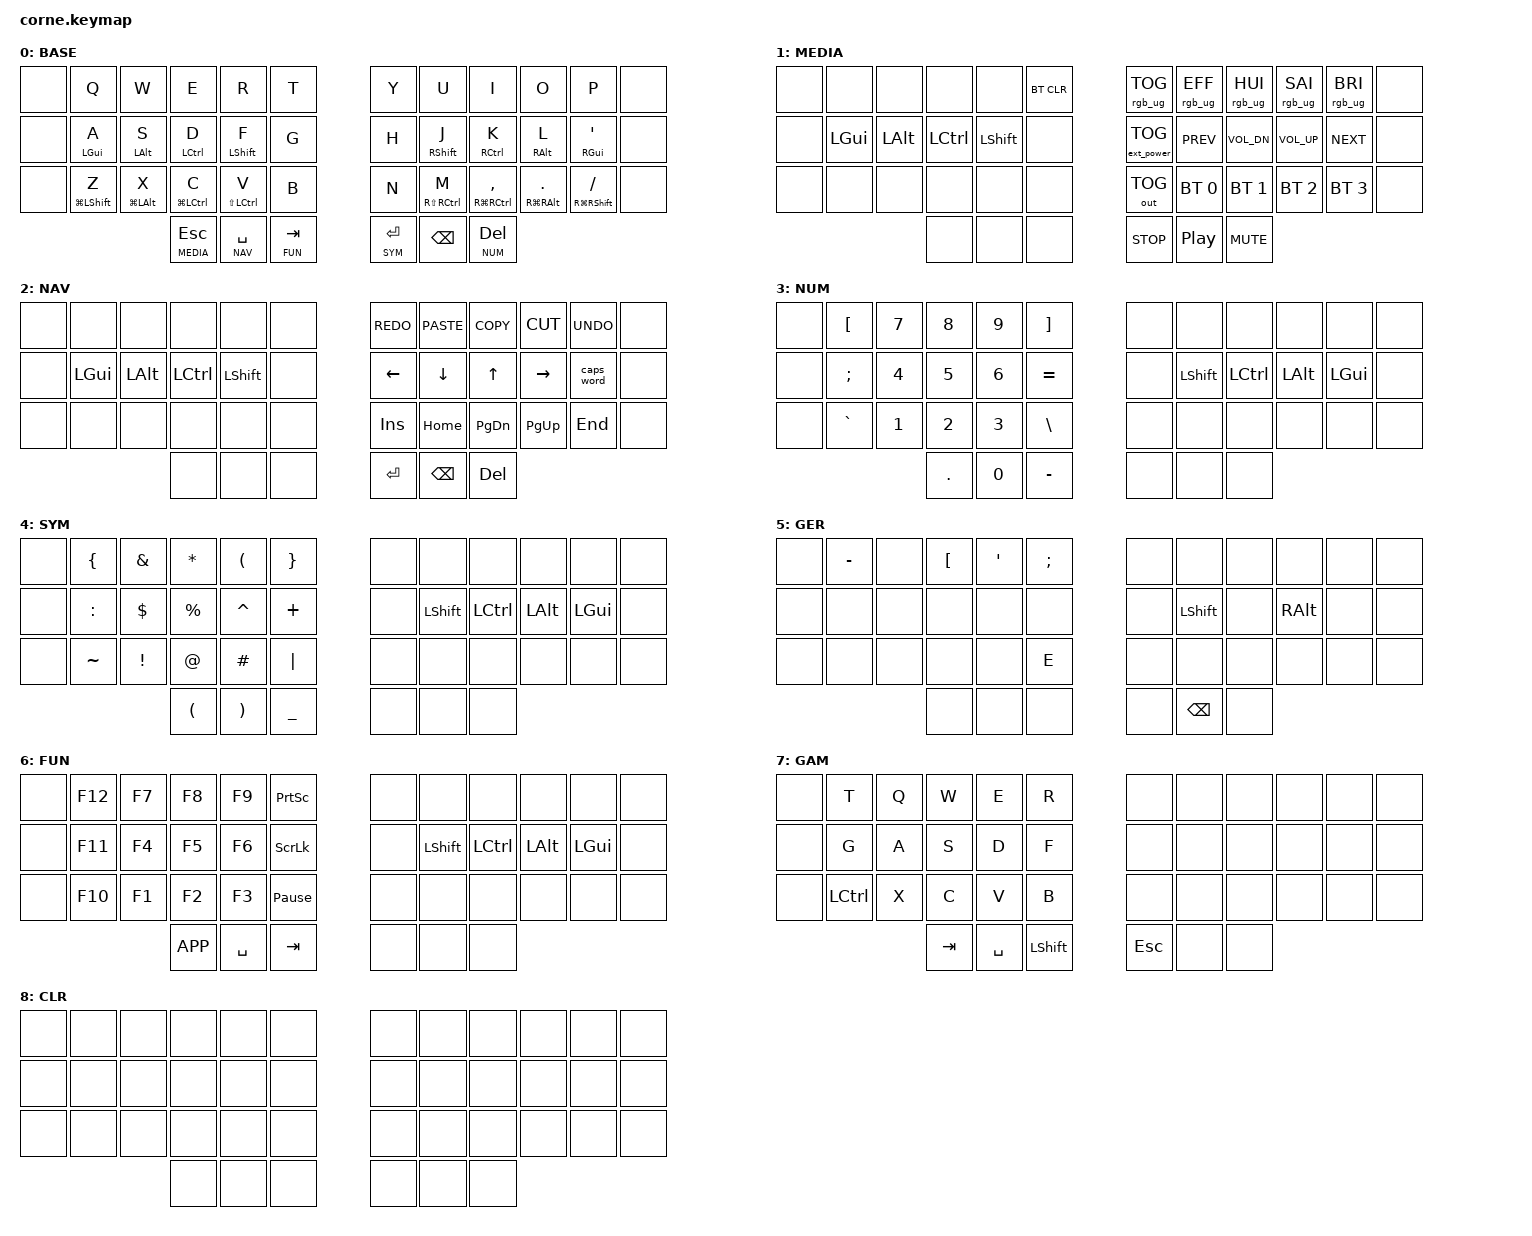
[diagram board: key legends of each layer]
/*
 * Copyright (c) 2020 The ZMK Contributors
 *
 * SPDX-License-Identifier: MIT
 */

#include <behaviors.dtsi>
#include <dt-bindings/zmk/keys.h>
#include <dt-bindings/zmk/rgb.h>
#include <dt-bindings/zmk/ext_power.h>
#include <dt-bindings/zmk/outputs.h>
#include <dt-bindings/zmk/bt.h>

#define BASE 0
#define MEDIA 1
#define NAV 2
#define NUM 3
#define SYM 4
#define GER 5
#define FUN 6
#define GAM 7
#define CLR 8



// Toggle German Layer
/ {
    macros {
        zed_lang: zed_lang {
            label = "ZM_zed_lang";
            compatible = "zmk,behavior-macro";
            #binding-cells = <0>;
            bindings
                = <&macro_tap &tog GER>
                , <&macro_press &kp LGUI>
                , <&macro_tap &kp SPACE>
                , <&macro_release &kp LGUI>
                ;
        };
    };
};

/ {
    combos {
        compatible = "zmk,combos";
        combo_ger {
            timeout-ms = <50>;
            key-positions = <37 40>;
            bindings = <&zed_lang>;
        };
    };
};

/ {
    combos {
        compatible = "zmk,combos";
        combo_gam {
            timeout-ms = <50>;
            key-positions = <36 41>;
            bindings = <&tog GAM>;
        };
    };
};


/ {
     // Homerow Mod
     behaviors {
          bhm: balanced_homerow_mods {
               compatible = "zmk,behavior-hold-tap";
               label = "HOMEROW_MODS";
               #binding-cells = <2>;
               tapping-term-ms = <200>;    // <---[[moderate duration]]
               quick-tap-ms = <0>;
               flavor = "balanced";
               bindings = <&kp>, <&kp>;
          };
     };

          keymap {
               compatible = "zmk,keymap";

               base_layer {
               label = "BASE";
                        bindings = <
// ╭───────┬───────────────────┬───────────────────┬───────────────────┬───────────────────┬────────────────╮   ╭────────────────┬───────────────────┬────────────────────────┬────────────────────────┬────────────────────────┬───────╮
     &none   &kp Q               &kp W               &kp E               &kp R               &kp T                &kp Y            &kp U               &kp I                    &kp O                    &kp P                    &none
// ├───────┼───────────────────┼───────────────────┼───────────────────┼───────────────────┼────────────────┤   ├────────────────┼───────────────────┼────────────────────────┼────────────────────────┼────────────────────────┼───────┤
     &none   &bhm LGUI A         &bhm LALT S         &bhm LCTRL D        &bhm LSHIFT F       &kp G                &kp H            &bhm RSHIFT J       &bhm RCTRL K             &bhm RALT L              &bhm RGUI SQT            &none
// ├───────┼───────────────────┼───────────────────┼───────────────────┼───────────────────┼────────────────┤   ├────────────────┼───────────────────┼────────────────────────┼────────────────────────┼────────────────────────┼───────┤
     &none   &bhm LG(LSHFT) Z    &bhm LG(LALT) X     &bhm LG(LCTRL) C    &bhm LS(LCTRL) V    &kp B                &kp N            &bhm RS(RCTRL) M    &bhm RG(RCTRL) COMMA     &bhm RG(RALT) DOT        &bhm RG(RSHFT) FSLH      &none
// ├───────┼───────────────────┼───────────────────┼───────────────────┼───────────────────┼────────────────┤   ├────────────────┼───────────────────┼────────────────────────┼────────────────────────┼────────────────────────┼───────┤
                                                      &lt MEDIA ESC       &lt NAV SPACE       &lt FUN TAB         &lt SYM RET      &kp BSPC            &lt NUM DELETE
//                                                  ╰───────────────────┴───────────────────┴───────────────╯   ╰────────────────┴───────────────────┴─────────────────────────╯
                        >;
                };

                media_layer {
                        label = "MEDIA";
                        bindings = <
// ╭───────┬────────────────┬────────────────┬────────────────┬────────────────┬────────────────╮   ╭────────────────────┬────────────────────┬────────────────────┬────────────────────┬────────────────────┬───────╮
     &none   &none            &none            &none            &none            &bt BT_CLR           &rgb_ug RGB_TOG      &rgb_ug RGB_EFF      &rgb_ug RGB_HUI      &rgb_ug RGB_SAI      &rgb_ug RGB_BRI      &none
// ├───────┼────────────────┼────────────────┼────────────────┼────────────────┼────────────────┤   ├────────────────────┼────────────────────┼────────────────────┼────────────────────┼────────────────────┼───────┤
     &none   &kp LGUI         &kp LALT         &kp LCTRL        &kp LSHIFT       &none                &ext_power EP_TOG    &kp C_PREV           &kp C_VOL_DN         &kp C_VOL_UP         &kp C_NEXT           &none 
// ├───────┼────────────────┼────────────────┼────────────────┼────────────────┼────────────────┤   ├────────────────────┼────────────────────┼────────────────────┼────────────────────┼────────────────────┼───────┤
     &none   &none            &none            &none            &none            &none                &out OUT_TOG         &bt BT_SEL 0         &bt BT_SEL 1         &bt BT_SEL 2         &bt BT_SEL 3         &none
// ├───────┼────────────────┼────────────────┼────────────────┼────────────────┼────────────────┤   ├────────────────────┼────────────────────┼────────────────────┼────────────────────┼────────────────────┼───────┤
                                               &none            &none            &none                &kp C_STOP           &kp C_PP             &kp C_MUTE
//                                           ╰────────────────┴────────────────┴───────────────╯   ╰─────────────────────┴────────────────────┴────────────────────╯
                        >;
                };

                nav_layer {
                        label = "NAV";
                        bindings = <
// ╭───────┬────────────────┬────────────────┬────────────────┬────────────────┬────────────────╮   ╭────────────────┬────────────────┬────────────────┬────────────────┬────────────────┬───────╮
     &none   &none            &none            &none            &none            &none                &kp K_REDO       &kp K_PASTE      &kp K_COPY       &kp K_CUT        &kp K_UNDO       &none
// ├───────┼────────────────┼────────────────┼────────────────┼────────────────┼────────────────┤   ├────────────────┼────────────────┼────────────────┼────────────────┼────────────────┼───────┤
     &none   &kp LGUI         &kp LALT         &kp LCTRL        &kp LSHIFT       &none                &kp LEFT         &kp DOWN         &kp UP           &kp RIGHT        &caps_word	   &none
// ├───────┼────────────────┼────────────────┼────────────────┼────────────────┼────────────────┤   ├────────────────┼────────────────┼────────────────┼────────────────┼────────────────┼───────┤
     &none   &none            &none            &none            &none            &none                &kp INS          &kp HOME         &kp PG_DN        &kp PG_UP        &kp END          &none
// ├───────┼────────────────┼────────────────┼────────────────┼────────────────┼────────────────┤   ├────────────────┼────────────────┼────────────────┼────────────────┼────────────────┼───────┤
                                               &none            &none            &none                &kp RET          &kp BSPC         &kp DEL
//                                            ╰────────────────┴────────────────┴───────────────╯   ╰────────────────┴────────────────┴────────────────╯
                        >;
                };

                num_layer {
                        label = "NUM";
                        bindings = <
// ╭───────┬────────────────┬────────────────┬────────────────┬────────────────┬────────────────╮   ╭────────────────┬────────────────┬────────────────┬────────────────┬────────────────┬───────╮
     &none   &kp LBKT         &kp N7           &kp N8           &kp N9           &kp RBKT             &none            &none            &none            &none            &none            &none
// ├───────┼────────────────┼────────────────┼────────────────┼────────────────┼────────────────┤   ├────────────────┼────────────────┼────────────────┼────────────────┼────────────────┼───────┤
     &none   &kp SEMI         &kp N4           &kp N5           &kp N6           &kp EQUAL            &none            &kp LSHIFT       &kp LCTRL        &kp LALT         &kp LGUI         &none
// ├───────┼────────────────┼────────────────┼────────────────┼────────────────┼────────────────┤   ├────────────────┼────────────────┼────────────────┼────────────────┼────────────────┼───────┤
     &none   &kp GRAVE        &kp N1           &kp N2           &kp N3           &kp BSLH             &none            &none            &none            &none            &none            &none
// ├───────┼────────────────┼────────────────┼────────────────┼────────────────┼────────────────┤   ├────────────────┼────────────────┼────────────────┼────────────────┼────────────────┼───────┤
                                               &kp DOT          &kp N0           &kp MINUS            &none            &none            &none
//                                           ╰────────────────┴────────────────┴────────────────╯   ╰────────────────┴────────────────┴────────────────╯
                        >;
                };

                sym_layer {
                        label = "SYM";
                        bindings = <
// ╭───────┬────────────────┬────────────────┬────────────────┬────────────────┬────────────────╮   ╭────────────────┬────────────────┬────────────────┬────────────────┬────────────────┬───────╮
     &none   &kp LBRC         &kp AMPS         &kp ASTRK        &kp LPAR         &kp RBRC             &none            &none            &none            &none            &none            &none
// ├───────┼────────────────┼────────────────┼────────────────┼────────────────┼────────────────┤   ├────────────────┼────────────────┼────────────────┼────────────────┼────────────────┼───────┤
     &none   &kp COLON        &kp DLLR         &kp PRCNT        &kp CARET        &kp PLUS             &none            &kp LSHIFT       &kp LCTRL        &kp LALT         &kp LGUI         &none
// ├───────┼────────────────┼────────────────┼────────────────┼────────────────┼────────────────┤   ├────────────────┼────────────────┼────────────────┼────────────────┼────────────────┼───────┤
     &none   &kp TILDE        &kp EXCL         &kp AT           &kp HASH         &kp PIPE             &none            &none            &none            &none            &none            &none
// ├───────┼────────────────┼────────────────┼────────────────┼────────────────┼────────────────┤   ├────────────────┼────────────────┼────────────────┼────────────────┼────────────────┼───────┤
                                               &kp LPAR         &kp RPAR         &kp UNDER            &none            &none            &none
//                                           ╰────────────────┴────────────────┴────────────────╯   ╰────────────────┴────────────────┴────────────────╯
                        >;
                };

                german_layer {
                        label = "GER";
                        bindings = <
// ╭───────┬────────────────┬────────────────┬────────────────┬────────────────┬────────────────╮   ╭────────────────┬────────────────┬────────────────┬────────────────┬────────────────┬───────╮
     &none   &kp MINUS        &none            &kp LBKT         &kp SQT          &kp SEMI             &none            &none            &none            &none            &none            &none
// ├───────┼────────────────┼────────────────┼────────────────┼────────────────┼────────────────┤   ├────────────────┼────────────────┼────────────────┼────────────────┼────────────────┼───────┤
     &none   &none            &none            &none            &none            &none                &none            &kp LSHIFT       &none            &kp RALT         &none            &none
// ├───────┼────────────────┼────────────────┼────────────────┼────────────────┼────────────────┤   ├────────────────┼────────────────┼────────────────┼────────────────┼────────────────┼───────┤
     &none   &none            &none            &none            &none            &kp E                &none            &none            &none            &none            &none            &none
// ├───────┼────────────────┼────────────────┼────────────────┼────────────────┼────────────────┤   ├────────────────┼────────────────┼────────────────┼────────────────┼────────────────┼───────┤
                                               &none            &none            &none                &none            &kp BSPC         &none
//                                           ╰────────────────┴────────────────┴────────────────╯   ╰────────────────┴────────────────┴────────────────╯
                        >;
                };

                fun_layer {
                        label = "FUN";
                        bindings = <
// ╭───────┬────────────────┬────────────────┬────────────────┬────────────────┬────────────────╮   ╭────────────────┬────────────────┬────────────────┬────────────────┬────────────────┬───────╮
     &none   &kp F12          &kp F7           &kp F8           &kp F9           &kp PSCRN             &none            &none            &none            &none            &none           &none
// ├───────┼────────────────┼────────────────┼────────────────┼────────────────┼────────────────┤   ├────────────────┼────────────────┼────────────────┼────────────────┼────────────────┼───────┤
     &none   &kp F11          &kp F4           &kp F5           &kp F6           &kp SLCK              &none            &kp LSHIFT       &kp LCTRL        &kp LALT         &kp LGUI        &none
// ├───────┼────────────────┼────────────────┼────────────────┼────────────────┼────────────────┤   ├────────────────┼────────────────┼────────────────┼────────────────┼────────────────┼───────┤
     &none   &kp F10          &kp F1           &kp F2           &kp F3           &kp PAUSE_BREAK       &none            &none            &none            &none            &none           &none
// ├───────┼────────────────┼────────────────┼────────────────┼────────────────┼────────────────┤   ├────────────────┼────────────────┼────────────────┼────────────────┼────────────────┼───────┤
                                               &kp K_APP        &kp SPACE        &kp TAB               &none            &none            &none
//                                           ╰────────────────┴────────────────┴────────────────╯   ╰────────────────┴────────────────┴────────────────╯
                        >;
                };

                game_layer {
                        label = "GAM";
                        bindings = <
// ╭────────────────┬────────────────┬────────────────┬────────────────┬────────────────┬────────────────╮   ╭────────────────┬────────────────┬────────────────┬────────────────┬────────────────┬────────────────╮
     &none            &kp T            &kp Q            &kp W           &kp E            &kp R                &none            &none            &none            &none            &none            &none
// ├────────────────┼────────────────┼────────────────┼────────────────┼────────────────┼────────────────┤   ├────────────────┼────────────────┼────────────────┼────────────────┼────────────────┼────────────────┤
     &none            &kp G            &kp A            &kp S           &kp D            &kp F                &none            &none            &none            &none            &none            &none
// ├────────────────┼────────────────┼────────────────┼────────────────┼────────────────┼────────────────┤   ├────────────────┼────────────────┼────────────────┼────────────────┼────────────────┼────────────────┤
     &none            &kp LCTRL        &kp X            &kp C           &kp V            &kp B                &none            &none            &none            &none            &none            &none
// ├────────────────┼────────────────┼────────────────┼────────────────┼────────────────┼────────────────┤   ├────────────────┼────────────────┼────────────────┼────────────────┼────────────────┼────────────────┤
                                                        &kp TAB         &kp SPACE        &kp LSHIFT           &kp ESC          &none            &none
//                                                    ╰────────────────┴────────────────┴───────────────╯   ╰────────────────┴────────────────┴────────────────╯
                        >;
                };

                clear_layer {
                        label = "CLR";
                        bindings = <
// ╭────────────────┬────────────────┬────────────────┬────────────────┬────────────────┬────────────────╮   ╭────────────────┬────────────────┬────────────────┬────────────────┬────────────────┬────────────────╮
     &none            &none            &none            &none            &none            &none                &none            &none            &none            &none            &none            &none
// ├────────────────┼────────────────┼────────────────┼────────────────┼────────────────┼────────────────┤   ├────────────────┼────────────────┼────────────────┼────────────────┼────────────────┼────────────────┤
     &none            &none            &none            &none            &none            &none                &none            &none           &none             &none            &none            &none
// ├────────────────┼────────────────┼────────────────┼────────────────┼────────────────┼────────────────┤   ├────────────────┼────────────────┼────────────────┼────────────────┼────────────────┼────────────────┤
     &none            &none            &none            &none            &none            &none                &none            &none            &none            &none            &none            &none
// ├────────────────┼────────────────┼────────────────┼────────────────┼────────────────┼────────────────┤   ├────────────────┼────────────────┼────────────────┼────────────────┼────────────────┼────────────────┤
                                                        &none            &none            &none                &none            &none            &none
//                                                    ╰────────────────┴────────────────┴───────────────╯   ╰────────────────┴────────────────┴────────────────╯
                        >;
                };

        };
};
